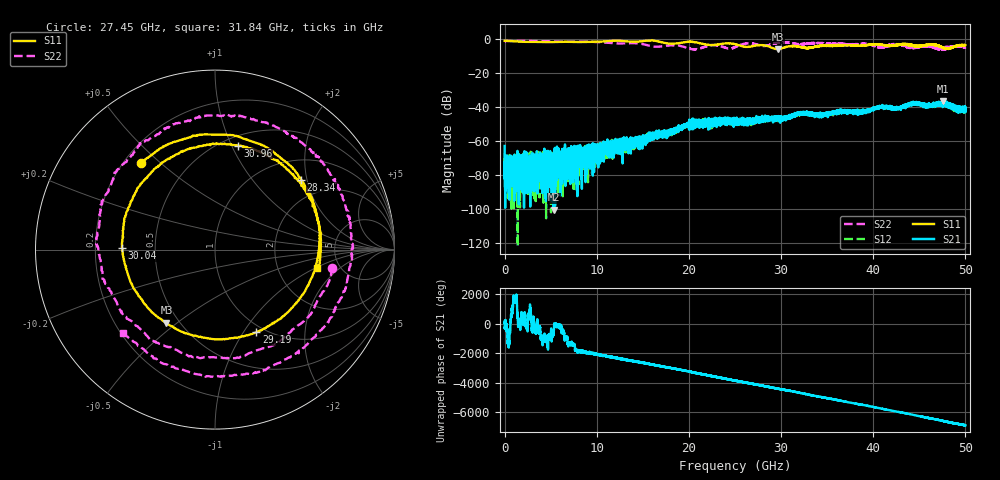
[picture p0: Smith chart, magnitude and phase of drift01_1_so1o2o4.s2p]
!Created with skrf (http://scikit-rf.org).
# Hz S RI R 50.0
!freq ReS11 ImS11 ReS21 ImS21 ReS12 ImS12 ReS22 ImS22
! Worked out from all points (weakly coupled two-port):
!   10001 points, 300 kHz to 50 GHz, reference 50 ohm
!   highest |S21| = -36.98 dB at 47.53 GHz (marker M1); lowest = -100.7 dB at 5.325 GHz (marker M2)
!   lowest |S11| = -6.2 dB at 29.62 GHz (marker M3), VSWR 2.91, Z = 21.4 - j22.9 ohm
!   |S11| at or under -10 dB: nowhere
!   |S22| runs from -6.8 to -1.4 dB; largest |S21 - S12| = 0.0042
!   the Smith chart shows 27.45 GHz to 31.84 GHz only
!   S11 on the Smith chart (normalised r, x): 27.45 GHz: 0.27, +0.44; 28.34 GHz: 1.46, +1.85; 29.19 GHz: 0.91, -1.14; 30.04 GHz: 0.32, +0.01; 30.96 GHz: 0.59, +1.05; 31.84 GHz: 3.40, -1.06
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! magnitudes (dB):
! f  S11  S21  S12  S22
! 300 kHz  -1.3  -63.1  -67.6  -2.1
! 250.3 MHz  -1.4  -79.2  -70.3  -1.4
! 510.3 MHz  -1.4  -71.3  -76.7  -1.5
! 5.325 GHz  -2.0  -100.7  -69.4  -1.7
! 8.335 GHz  -2.0  -82.8  -66.5  -1.8
! 16.67 GHz  -1.7  -56.4  -56.9  -4.8
! 18.62 GHz  -2.9  -53.1  -53.6  -3.9
! 20.53 GHz  -2.0  -50.4  -48.6  -6.3
! 22.59 GHz  -3.9  -48.7  -49.8  -3.8
! 25 GHz  -3.3  -48.8  -48.9  -5.1
! 26.19 GHz  -4.9  -47.8  -47.9  -2.9
! 27.45 GHz  -3.9  -47.4  -46.9  -3.6
! 28.34 GHz  -4.2  -48.2  -47.2  -4.2
! 29.19 GHz  -5.8  -48.4  -47.0  -3.1
! 29.62 GHz  -6.2  -47.8  -46.7  -2.5
! 30.04 GHz  -5.7  -46.4  -46.7  -2.4
! 30.96 GHz  -4.5  -46.2  -46.0  -2.5
! 31.84 GHz  -4.7  -44.0  -44.6  -3.2
! 33.34 GHz  -5.2  -44.4  -44.3  -2.6
! 41.67 GHz  -4.3  -41.1  -40.7  -4.6
! 47.53 GHz  -5.2  -37.0  -38.8  -6.2
! 50 GHz  -3.9  -42.8  -42.3  -5.4
